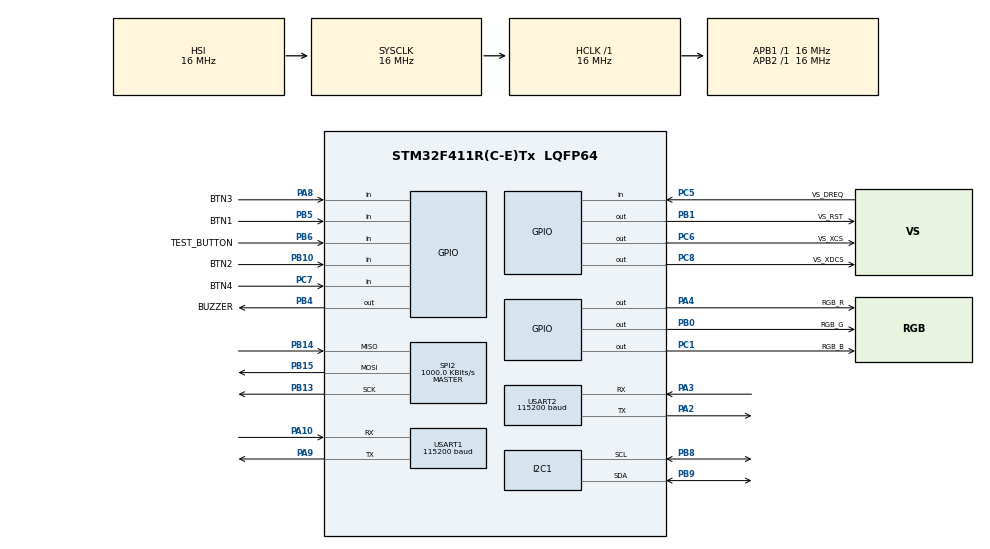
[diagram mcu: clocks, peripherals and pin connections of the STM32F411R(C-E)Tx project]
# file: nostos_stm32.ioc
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Mcu.Family=STM32F4
Mcu.Name=STM32F411R(C-E)Tx
Mcu.Package=LQFP64
NVIC.PriorityGroup=NVIC_PRIORITYGROUP_4
NVIC.USART2_IRQn=true\:0\:0\:false\:false\:true\:true\:true\:true
NVIC.USART1_IRQn=true\:0\:0\:false\:false\:true\:true\:true\:true
PA2.Mode=Asynchronous
PA2.Signal=USART2_TX
PA3.Mode=Asynchronous
PA3.Signal=USART2_RX
PA9.Mode=Asynchronous
PA9.Signal=USART1_TX
PA10.Mode=Asynchronous
PA10.Signal=USART1_RX
PA4.GPIO_Label=RGB_R
PA4.Signal=GPIO_Output
PA8.GPIO_Label=BTN3
PA8.GPIO_PuPd=GPIO_PULLUP
PA8.Signal=GPIO_Input
PB0.GPIO_Label=RGB_G
PB0.Signal=GPIO_Output
PB1.GPIO_Label=VS_RST
PB1.PinState=GPIO_PIN_SET
PB1.Signal=GPIO_Output
PB10.GPIO_Label=BTN2
PB10.GPIO_PuPd=GPIO_PULLUP
PB10.Signal=GPIO_Input
PB13.Mode=Full_Duplex_Master
PB13.Signal=SPI2_SCK
PB14.Mode=Full_Duplex_Master
PB14.Signal=SPI2_MISO
PB15.Mode=Full_Duplex_Master
PB15.Signal=SPI2_MOSI
PB4.GPIO_Label=BUZZER
PB4.Signal=GPIO_Output
PB5.GPIO_Label=BTN1
PB5.GPIO_PuPd=GPIO_PULLUP
PB5.Signal=GPIO_Input
PB6.GPIO_Label=TEST_BUTTON
PB6.GPIO_PuPd=GPIO_PULLUP
PB6.Signal=GPIO_Input
PB8.GPIO_Pu=GPIO_PULLUP
PB8.Mode=I2C
PB8.Signal=I2C1_SCL
PB9.GPIO_Pu=GPIO_PULLUP
PB9.Mode=I2C
PB9.Signal=I2C1_SDA
PC1.GPIO_Label=RGB_B
PC1.Signal=GPIO_Output
PC5.GPIO_Label=VS_DREQ
PC5.Signal=GPIO_Input
PC6.GPIO_Label=VS_XCS
PC6.PinState=GPIO_PIN_SET
PC6.Signal=GPIO_Output
PC7.GPIO_Label=BTN4
PC7.GPIO_PuPd=GPIO_PULLUP
PC7.Signal=GPIO_Input
PC8.GPIO_Label=VS_XDCS
PC8.PinState=GPIO_PIN_SET
PC8.Signal=GPIO_Output
ProjectManager.HeapSize=0x200
ProjectManager.StackSize=0x400
ProjectManager.TargetToolchain=CMake
RCC.AHBFreq_Value=16000000
RCC.APB1Freq_Value=16000000
RCC.APB2Freq_Value=16000000
RCC.CortexFreq_Value=16000000
RCC.HSE_VALUE=25000000
RCC.HSI_VALUE=16000000
RCC.LSE_VALUE=32768
RCC.SYSCLKFreq_VALUE=16000000
RCC.VCOOutputFreq_Value=192000000
SPI2.BaudRatePrescaler=SPI_BAUDRATEPRESCALER_16
SPI2.CalculateBaudRate=1000.0 KBits/s
SPI2.Direction=SPI_DIRECTION_2LINES
SPI2.Mode=SPI_MODE_MASTER
SPI2.VirtualType=VM_MASTER
USART2.BaudRate=115200
USART2.VirtualMode=VM_ASYNC
USART1.BaudRate=115200
USART1.VirtualMode=VM_ASYNC
board=custom

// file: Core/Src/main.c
/* USER CODE BEGIN Header */
/**
  ******************************************************************************
  * @file           : main.c
  * @brief          : Main program body
  ******************************************************************************
  * @attention
  *
  * Copyright (c) 2026 STMicroelectronics.
  * All rights reserved.
  *
  * This software is licensed under terms that can be found in the LICENSE file
  * in the root directory of this software component.
  * If no LICENSE file comes with this software, it is provided AS-IS.
  *
  ******************************************************************************
  */
/* USER CODE END Header */
#include "main.h"

/* USER CODE BEGIN Includes */
#include "app.h"
#include "app_config.h"
#include "safety_service.h"
#include "uart_service.h"
#if NOSTOS_FREERTOS
#include "app_rtos.h"
#include "FreeRTOS.h"
#include "task.h"
#endif
/* USER CODE END Includes */

I2C_HandleTypeDef hi2c1;

SPI_HandleTypeDef hspi2;

UART_HandleTypeDef huart1;
UART_HandleTypeDef huart2;

void SystemClock_Config(void);
static void MX_GPIO_Init(void);
static void MX_SPI2_Init(void);
static void MX_USART2_UART_Init(void);
static void MX_USART1_UART_Init(void);
static void MX_I2C1_Init(void);

int main(void)
{

  /* MCU Configuration--------------------------------------------------------*/

  /* Reset of all peripherals, Initializes the Flash interface and the Systick. */
  HAL_Init();

  /* Configure the system clock */
  SystemClock_Config();

  /* Initialize all configured peripherals */
  MX_GPIO_Init();
  MX_SPI2_Init();
  MX_USART2_UART_Init();
  MX_USART1_UART_Init();
  MX_I2C1_Init();
  /* USER CODE BEGIN 2 */
  app_init(&hspi2, &huart1, &hi2c1);
  /* USART1 D8/PA9 -> ESP32, USART2 -> ST-LINK USB 캘리브레이션 텍스트 로그. */
  safety_service_set_log_uart(&huart2);
#if NOSTOS_FREERTOS
  if (!app_rtos_start())
  {
    Error_Handler();
  }
  vTaskStartScheduler();
  Error_Handler();
#endif
  /* USER CODE END 2 */

  /* Infinite loop */
  while (1)
  {

    /* USER CODE BEGIN 3 */
#if !NOSTOS_FREERTOS
    app_process();
#endif
  }
  /* USER CODE END 3 */
}

void SystemClock_Config(void)
{
  RCC_OscInitTypeDef RCC_OscInitStruct = {0};
  RCC_ClkInitTypeDef RCC_ClkInitStruct = {0};

  /** Configure the main internal regulator output voltage
  */
  __HAL_RCC_PWR_CLK_ENABLE();
  __HAL_PWR_VOLTAGESCALING_CONFIG(PWR_REGULATOR_VOLTAGE_SCALE1);

  /** Initializes the RCC Oscillators according to the specified parameters
  * in the RCC_OscInitTypeDef structure.
  */
  RCC_OscInitStruct.OscillatorType = RCC_OSCILLATORTYPE_HSI;
  RCC_OscInitStruct.HSIState = RCC_HSI_ON;
  RCC_OscInitStruct.HSICalibrationValue = RCC_HSICALIBRATION_DEFAULT;
  RCC_OscInitStruct.PLL.PLLState = RCC_PLL_NONE;
  if (HAL_RCC_OscConfig(&RCC_OscInitStruct) != HAL_OK)
  {
    Error_Handler();
  }

  /** Initializes the CPU, AHB and APB buses clocks
  */
  RCC_ClkInitStruct.ClockType = RCC_CLOCKTYPE_HCLK|RCC_CLOCKTYPE_SYSCLK
                              |RCC_CLOCKTYPE_PCLK1|RCC_CLOCKTYPE_PCLK2;
  RCC_ClkInitStruct.SYSCLKSource = RCC_SYSCLKSOURCE_HSI;
  RCC_ClkInitStruct.AHBCLKDivider = RCC_SYSCLK_DIV1;
  RCC_ClkInitStruct.APB1CLKDivider = RCC_HCLK_DIV1;
  RCC_ClkInitStruct.APB2CLKDivider = RCC_HCLK_DIV1;

  if (HAL_RCC_ClockConfig(&RCC_ClkInitStruct, FLASH_LATENCY_0) != HAL_OK)
  {
    Error_Handler();
  }
}

static void MX_I2C1_Init(void)
{

  hi2c1.Instance = I2C1;
  hi2c1.Init.ClockSpeed = 100000;
  hi2c1.Init.DutyCycle = I2C_DUTYCYCLE_2;
  hi2c1.Init.OwnAddress1 = 0;
  hi2c1.Init.AddressingMode = I2C_ADDRESSINGMODE_7BIT;
  hi2c1.Init.DualAddressMode = I2C_DUALADDRESS_DISABLE;
  hi2c1.Init.OwnAddress2 = 0;
  hi2c1.Init.GeneralCallMode = I2C_GENERALCALL_DISABLE;
  hi2c1.Init.NoStretchMode = I2C_NOSTRETCH_DISABLE;
  if (HAL_I2C_Init(&hi2c1) != HAL_OK)
  {
    Error_Handler();
  }

}

static void MX_SPI2_Init(void)
{

  /* SPI2 parameter configuration*/
  hspi2.Instance = SPI2;
  hspi2.Init.Mode = SPI_MODE_MASTER;
  hspi2.Init.Direction = SPI_DIRECTION_2LINES;
  hspi2.Init.DataSize = SPI_DATASIZE_8BIT;
  hspi2.Init.CLKPolarity = SPI_POLARITY_LOW;
  hspi2.Init.CLKPhase = SPI_PHASE_1EDGE;
  hspi2.Init.NSS = SPI_NSS_SOFT;
  hspi2.Init.BaudRatePrescaler = SPI_BAUDRATEPRESCALER_16;
  hspi2.Init.FirstBit = SPI_FIRSTBIT_MSB;
  hspi2.Init.TIMode = SPI_TIMODE_DISABLE;
  hspi2.Init.CRCCalculation = SPI_CRCCALCULATION_DISABLE;
  hspi2.Init.CRCPolynomial = 10;
  if (HAL_SPI_Init(&hspi2) != HAL_OK)
  {
    Error_Handler();
  }

}

static void MX_USART1_UART_Init(void)
{
  huart1.Instance = USART1;
  huart1.Init.BaudRate = 115200;
  huart1.Init.WordLength = UART_WORDLENGTH_8B;
  huart1.Init.StopBits = UART_STOPBITS_1;
  huart1.Init.Parity = UART_PARITY_NONE;
  huart1.Init.Mode = UART_MODE_TX_RX;
  huart1.Init.HwFlowCtl = UART_HWCONTROL_NONE;
  huart1.Init.OverSampling = UART_OVERSAMPLING_16;
  if (HAL_UART_Init(&huart1) != HAL_OK)
  {
    Error_Handler();
  }
}

static void MX_USART2_UART_Init(void)
{

  huart2.Instance = USART2;
  huart2.Init.BaudRate = 115200;
  huart2.Init.WordLength = UART_WORDLENGTH_8B;
  huart2.Init.StopBits = UART_STOPBITS_1;
  huart2.Init.Parity = UART_PARITY_NONE;
  huart2.Init.Mode = UART_MODE_TX_RX;
  huart2.Init.HwFlowCtl = UART_HWCONTROL_NONE;
  huart2.Init.OverSampling = UART_OVERSAMPLING_16;
  if (HAL_UART_Init(&huart2) != HAL_OK)
  {
    Error_Handler();
  }

}

static void MX_GPIO_Init(void)
{
  GPIO_InitTypeDef GPIO_InitStruct = {0};

  /* GPIO Ports Clock Enable */
  __HAL_RCC_GPIOC_CLK_ENABLE();
  __HAL_RCC_GPIOA_CLK_ENABLE();
  __HAL_RCC_GPIOB_CLK_ENABLE();

  /*Configure GPIO pin Output Level */
  HAL_GPIO_WritePin(RGB_B_GPIO_Port, RGB_B_Pin, GPIO_PIN_RESET);

  /*Configure GPIO pin Output Level */
  HAL_GPIO_WritePin(RGB_R_GPIO_Port, RGB_R_Pin, GPIO_PIN_RESET);

  /*Configure GPIO pin Output Level */
  HAL_GPIO_WritePin(GPIOC, VS_XCS_Pin|VS_XDCS_Pin, GPIO_PIN_SET);

  /*Configure GPIO pin Output Level */
  HAL_GPIO_WritePin(GPIOB, RGB_G_Pin|BUZZER_Pin, GPIO_PIN_RESET);

  /*Configure GPIO pin Output Level */
  HAL_GPIO_WritePin(VS_RST_GPIO_Port, VS_RST_Pin, GPIO_PIN_SET);

  /*Configure GPIO pin : RGB_B_Pin */
  GPIO_InitStruct.Pin = RGB_B_Pin;
  GPIO_InitStruct.Mode = GPIO_MODE_OUTPUT_PP;
  GPIO_InitStruct.Pull = GPIO_NOPULL;
  GPIO_InitStruct.Speed = GPIO_SPEED_FREQ_LOW;
  HAL_GPIO_Init(RGB_B_GPIO_Port, &GPIO_InitStruct);

  /*Configure GPIO pins : VS_XCS_Pin VS_XDCS_Pin */
  GPIO_InitStruct.Pin = VS_XCS_Pin|VS_XDCS_Pin;
  GPIO_InitStruct.Mode = GPIO_MODE_OUTPUT_PP;
  GPIO_InitStruct.Pull = GPIO_NOPULL;
  GPIO_InitStruct.Speed = GPIO_SPEED_FREQ_LOW;
  HAL_GPIO_Init(GPIOC, &GPIO_InitStruct);

  /*Configure GPIO pin : RGB_R_Pin */
  GPIO_InitStruct.Pin = RGB_R_Pin;
  GPIO_InitStruct.Mode = GPIO_MODE_OUTPUT_PP;
  GPIO_InitStruct.Pull = GPIO_NOPULL;
  GPIO_InitStruct.Speed = GPIO_SPEED_FREQ_LOW;
  HAL_GPIO_Init(RGB_R_GPIO_Port, &GPIO_InitStruct);

  /*Configure GPIO pin : VS_DREQ_Pin */
  GPIO_InitStruct.Pin = VS_DREQ_Pin;
  GPIO_InitStruct.Mode = GPIO_MODE_INPUT;
  GPIO_InitStruct.Pull = GPIO_NOPULL;
  HAL_GPIO_Init(VS_DREQ_GPIO_Port, &GPIO_InitStruct);

  /*Configure GPIO pins : RGB_G_Pin VS_RST_Pin BUZZER_Pin */
  GPIO_InitStruct.Pin = RGB_G_Pin|VS_RST_Pin|BUZZER_Pin;
  GPIO_InitStruct.Mode = GPIO_MODE_OUTPUT_PP;
  GPIO_InitStruct.Pull = GPIO_NOPULL;
  GPIO_InitStruct.Speed = GPIO_SPEED_FREQ_LOW;
  HAL_GPIO_Init(GPIOB, &GPIO_InitStruct);

  /*Configure GPIO pins : BTN2_Pin BTN1_Pin */
  GPIO_InitStruct.Pin = BTN2_Pin|BTN1_Pin;
  GPIO_InitStruct.Mode = GPIO_MODE_INPUT;
  GPIO_InitStruct.Pull = GPIO_PULLUP;
  HAL_GPIO_Init(GPIOB, &GPIO_InitStruct);

  /*Configure GPIO pin : BTN4_Pin */
  GPIO_InitStruct.Pin = BTN4_Pin;
  GPIO_InitStruct.Mode = GPIO_MODE_INPUT;
  GPIO_InitStruct.Pull = GPIO_PULLUP;
  HAL_GPIO_Init(BTN4_GPIO_Port, &GPIO_InitStruct);

  /*Configure GPIO pin : BTN3_Pin */
  GPIO_InitStruct.Pin = BTN3_Pin;
  GPIO_InitStruct.Mode = GPIO_MODE_INPUT;
  GPIO_InitStruct.Pull = GPIO_PULLUP;
  HAL_GPIO_Init(BTN3_GPIO_Port, &GPIO_InitStruct);

  /*Configure GPIO pin : TEST_BUTTON_Pin (D10/PB6, button to GND) */
  GPIO_InitStruct.Pin = TEST_BUTTON_Pin;
  GPIO_InitStruct.Mode = GPIO_MODE_INPUT;
  GPIO_InitStruct.Pull = GPIO_PULLUP;
  HAL_GPIO_Init(TEST_BUTTON_GPIO_Port, &GPIO_InitStruct);

}

void Error_Handler(void)
{
  __disable_irq();
  while (1)
  {
  }
}
